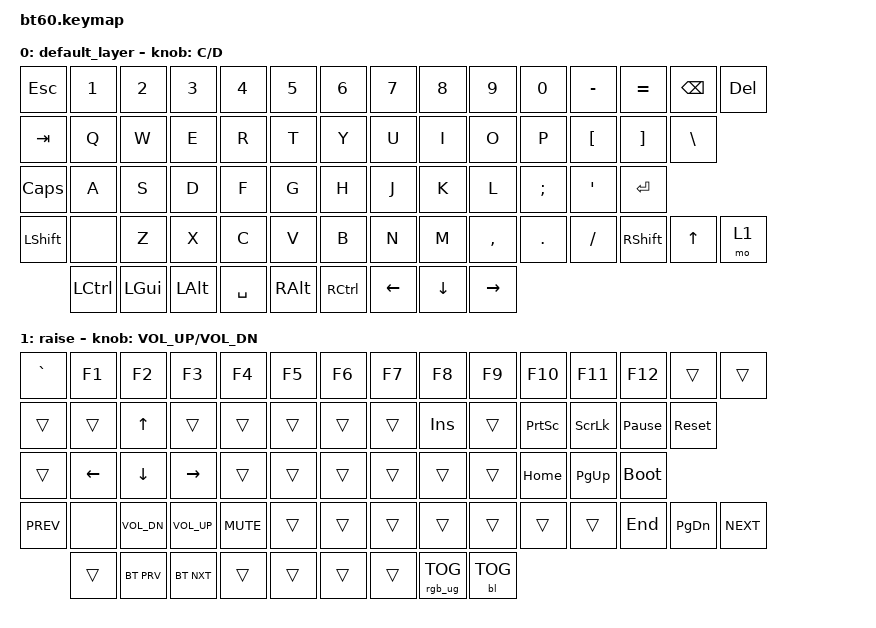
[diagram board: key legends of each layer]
#include <behaviors.dtsi>
#include <dt-bindings/zmk/keys.h>
#include <dt-bindings/zmk/bt.h>
#include <dt-bindings/zmk/rgb.h>
#include <dt-bindings/zmk/backlight.h>

/ {
    keymap {
        compatible = "zmk,keymap";

        default_layer {
            // ------------------------------------------------------------------------------------------
            // | ESC |  1  |  2  |  3  |  4  |  5  |  6  |  7  |  8  |  9  |  0  |  -  |  =  |BKSP | DEL |
            // | TAB  |  Q  |  W  |  E  |  R  |  T  |  Y  |  U  |  I  |  O  |  P  |  [  |  ]  |  |   |
            // | CAPS  |  A  |  S  |  D  |  F  |  G  |  H  |  J  |  K  |  L  |  ;  |  '  |     ENTER    |
            // |  SHIFT|NONE|  Z  |  X  |  C  |  V  |  B  |  N  |  M  |  ,  |  .  | /   | SHFT | UP | 1  |
            // |  CTL  |  WIN  |  ALT  |            SPACE              | ALT | CTRL | LEFT | DOWN | RIGHT |
            // ------------------------------------------------------------------------------------------

            bindings = <
  &kp ESC     &kp N1    &kp N2    &kp N3     &kp N4    &kp N5     &kp N6    &kp N7    &kp N8     &kp N9    &kp N0  &kp MINUS  &kp EQUAL  &kp BSPC  &kp DEL
  &kp TAB      &kp Q     &kp W     &kp E      &kp R     &kp T      &kp Y     &kp U     &kp I      &kp O     &kp P   &kp LBKT   &kp RBKT  &kp BSLH
 &kp CLCK      &kp A     &kp S     &kp D      &kp F     &kp G      &kp H     &kp J     &kp K      &kp L  &kp SEMI    &kp SQT    &kp RET
&kp LSHFT      &none     &kp Z     &kp X      &kp C     &kp V      &kp B     &kp N     &kp M  &kp COMMA   &kp DOT   &kp FSLH  &kp RSHFT    &kp UP    &mo 1
           &kp LCTRL  &kp LGUI  &kp LALT  &kp SPACE  &kp RALT  &kp RCTRL  &kp LEFT  &kp DOWN  &kp RIGHT
            >;

            sensor-bindings = <&inc_dec_kp C D>;
        };

        raise {
            bindings = <
 &kp GRAVE    &kp F1        &kp F2        &kp F3      &kp F4  &kp F5  &kp F6  &kp F7           &kp F8      &kp F9    &kp F10    &kp F11          &kp F12      &trans      &trans
    &trans    &trans        &kp UP        &trans      &trans  &trans  &trans  &trans          &kp INS      &trans  &kp PSCRN   &kp SLCK  &kp PAUSE_BREAK  &sys_reset
    &trans  &kp LEFT      &kp DOWN     &kp RIGHT      &trans  &trans  &trans  &trans           &trans      &trans   &kp HOME  &kp PG_UP      &bootloader
&kp C_PREV     &none  &kp C_VOL_DN  &kp C_VOL_UP  &kp C_MUTE  &trans  &trans  &trans           &trans      &trans     &trans     &trans          &kp END   &kp PG_DN  &kp C_NEXT
              &trans    &bt BT_PRV    &bt BT_NXT      &trans  &trans  &trans  &trans  &rgb_ug RGB_TOG  &bl BL_TOG
            >;

            sensor-bindings = <&inc_dec_kp C_VOL_UP C_VOL_DN>;
        };
    };
};
